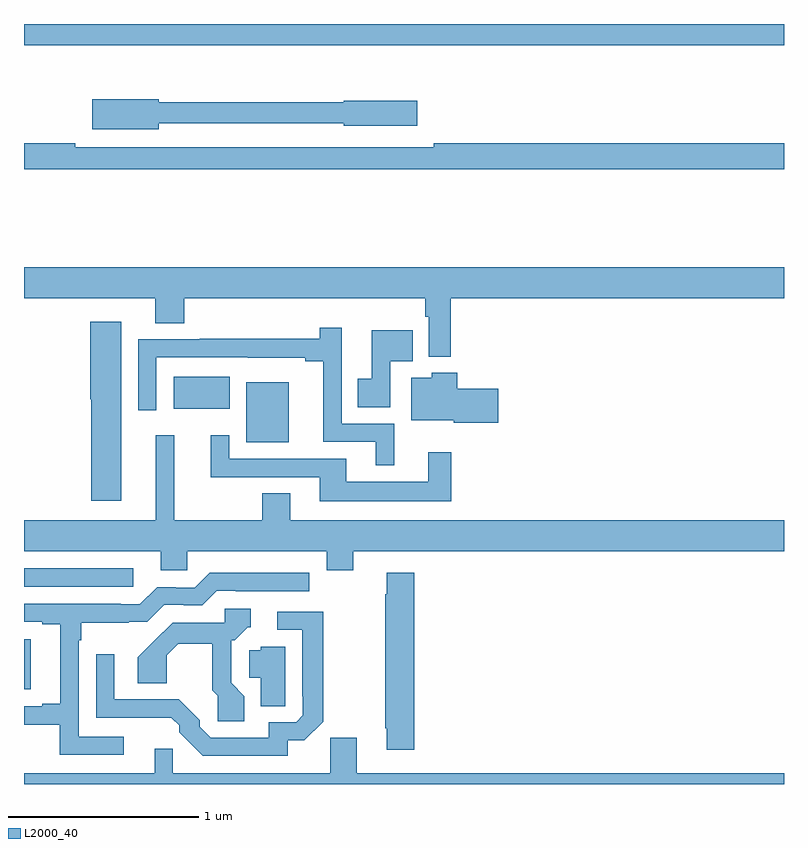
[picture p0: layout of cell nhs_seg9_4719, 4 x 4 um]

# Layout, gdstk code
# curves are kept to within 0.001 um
import gdstk
lib = gdstk.Library(unit=1e-6, precision=1e-09)
def R(c, l, rs):  # rectangles x0, y0, x1, y1
    for r in rs: c.add(gdstk.rectangle(r[:2], r[2:], *l))
def P(c, l, *ps):  # polygons
    for p in ps: c.add(gdstk.Polygon(p, *l))
L2000_40 = (2000, 40)

nhs_seg9_4719 = lib.new_cell('nhs_seg9_4719')
R(nhs_seg9_4719, L2000_40, [(383,1224.999,383.035,1225.261), (383,1225.539,383.575,1225.635), (384.17,1226.3,384.394,1226.614), (383.789,1226.474,384.082,1226.644), (383,1228.388,387,1228.5)])
P(nhs_seg9_4719, L2000_40, [(383.71,1227.978),(384.684,1227.978),(384.684,1227.965),(385.069,1227.965),(385.069,1228.095),(384.684,1228.095),(384.684,1228.087),(383.71,1228.087),(383.71,1228.105),(383.358,1228.105),(383.358,1227.947),(383.71,1227.947)],
  [(387,1227.872),(385.156,1227.872),(385.156,1227.852),(383.27,1227.852),(383.27,1227.872),(383,1227.872),(383,1227.736),(387,1227.736)],
  [(385.247,1227.056),(387,1227.056),(387,1227.22),(383,1227.22),(383,1227.056),(383.69,1227.056),(383.69,1226.926),(383.843,1226.926),(383.843,1227.056),(385.111,1227.056),(385.111,1226.96),(385.131,1226.96),(385.131,1226.75),(385.247,1226.75)],
  [(383.512,1226.932),(383.348,1226.932),(383.348,1226.526),(383.354,1226.526),(383.354,1225.992),(383.512,1225.992)],
  [(384.949,1226.397),(384.672,1226.397),(384.672,1226.902),(384.556,1226.902),(384.556,1226.843),(383.926,1226.843),(383.926,1226.841),(383.601,1226.841),(383.601,1226.466),(383.697,1226.466),(383.697,1226.745),(384.178,1226.745),(384.178,1226.744),(384.479,1226.744),(384.479,1226.725),(384.575,1226.725),(384.575,1226.301),(384.851,1226.301),(384.851,1226.177),(384.949,1226.177)],
  [(384.927,1226.726),(385.046,1226.726),(385.046,1226.887),(384.83,1226.887),(384.83,1226.634),(384.757,1226.634),(384.757,1226.482),(384.927,1226.482)],
  [(385.495,1226.58),(385.28,1226.58),(385.28,1226.665),(385.146,1226.665),(385.146,1226.638),(385.037,1226.638),(385.037,1226.414),(385.263,1226.414),(385.263,1226.402),(385.495,1226.402)],
  [(385.249,1226.245),(385.127,1226.245),(385.127,1226.092),(384.697,1226.092),(384.697,1226.211),(384.081,1226.211),(384.081,1226.335),(383.984,1226.335),(383.984,1226.115),(384.557,1226.115),(384.557,1225.988),(385.249,1225.988)],
  [(384.733,1225.724),(387,1225.724),(387,1225.888),(384.4,1225.888),(384.4,1226.03),(384.253,1226.03),(384.253,1225.888),(383.792,1225.888),(383.792,1226.335),(383.693,1226.335),(383.693,1225.888),(383,1225.888),(383,1225.724),(383.72,1225.724),(383.72,1225.626),(383.859,1225.626),(383.859,1225.724),(384.593,1225.724),(384.593,1225.625),(384.733,1225.625)],
  [(383.524,1224.75),(383.289,1224.75),(383.289,1225.256),(383.302,1225.256),(383.302,1225.35),(383.552,1225.35),(383.552,1225.353),(383.649,1225.353),(383.739,1225.443),(383.84,1225.443),(383.84,1225.44),(383.937,1225.44),(384.015,1225.518),(384.115,1225.518),(384.115,1225.515),(384.502,1225.515),(384.502,1225.611),(383.977,1225.612),(383.898,1225.533),(383.798,1225.533),(383.798,1225.536),(383.7,1225.536),(383.61,1225.446),(383.51,1225.446),(383.51,1225.449),(383,1225.449),(383,1225.353),(383.096,1225.353),(383.096,1225.341),(383.192,1225.341),(383.192,1224.922),(383.096,1224.922),(383.096,1224.909),(383,1224.909),(383,1224.812),(383.188,1224.812),(383.188,1224.654),(383.524,1224.654)],
  [(385.055,1225.612),(384.908,1225.612),(384.908,1225.499),(384.901,1225.499),(384.901,1224.793),(384.908,1224.793),(384.908,1224.681),(385.055,1224.681)],
  [(384.16,1224.962),(384.09,1225.032),(384.09,1225.257),(384.108,1225.257),(384.177,1225.326),(384.193,1225.326),(384.193,1225.422),(384.057,1225.422),(384.057,1225.35),(383.783,1225.35),(383.686,1225.253),(383.685,1225.254),(383.598,1225.166),(383.598,1225.03),(383.752,1225.03),(383.752,1225.178),(383.813,1225.239),(383.992,1225.239),(383.992,1224.994),(384.021,1224.965),(384.021,1224.831),(384.16,1224.831)],
  [(384.387,1224.729),(384.476,1224.729),(384.576,1224.828),(384.576,1225.019),(384.574,1225.019),(384.574,1225.407),(384.333,1225.407),(384.333,1225.311),(384.465,1225.311),(384.465,1224.961),(384.468,1224.961),(384.468,1224.861),(384.432,1224.825),(384.288,1224.825),(384.288,1224.744),(383.982,1224.744),(383.925,1224.801),(383.925,1224.835),(383.815,1224.945),(383.475,1224.945),(383.475,1225.183),(383.379,1225.183),(383.379,1224.849),(383.776,1224.848),(383.817,1224.808),(383.817,1224.773),(383.942,1224.648),(384.387,1224.648)],
  [(384.375,1225.222),(384.246,1225.222),(384.246,1225.203),(384.186,1225.203),(384.186,1225.058),(384.245,1225.058),(384.245,1224.91),(384.375,1224.91)],
  [(387,1224.556),(384.751,1224.556),(384.751,1224.744),(384.613,1224.744),(384.613,1224.556),(383.783,1224.556),(383.783,1224.686),(383.687,1224.686),(383.687,1224.556),(383,1224.556),(383,1224.5),(387,1224.5)])

lib.write_gds('nhs_seg9_4719.gds')
